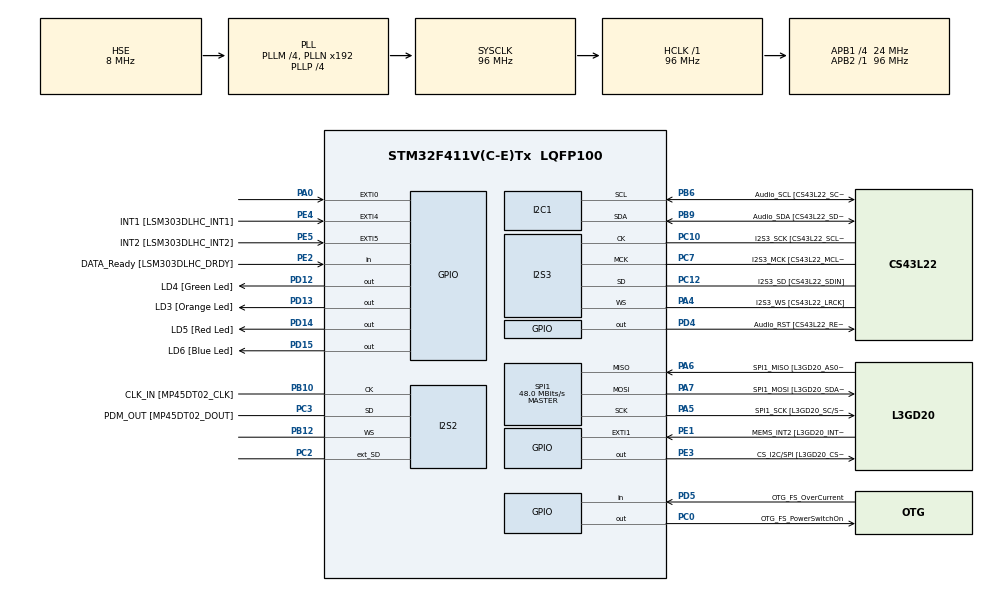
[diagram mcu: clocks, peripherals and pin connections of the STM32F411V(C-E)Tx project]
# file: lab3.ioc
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FREERTOS.BinarySemaphores01=CriticalResourceSemaphore,Dynamic,NULL
FREERTOS.Tasks01=GreenTask,0,128,StartGreenTask,Default,NULL,Dynamic,NULL,NULL;RedTask,0,128,StartRedTask,Default,NULL,Dynamic,NULL,NULL;OrangeTask,1,128,StartOrangeTask,Default,NULL,Dynamic,NULL,NULL
I2S2.AudioFreq=I2S_AUDIOFREQ_96K
I2S2.ErrorAudioFreq=0.15 %
I2S2.FullDuplexMode=I2S_FULLDUPLEXMODE_ENABLE
I2S2.Instance=SPI$Index
I2S2.RealAudioFreq=96.153 KHz
I2S2.VirtualMode=I2S_MODE_MASTER
I2S3.AudioFreq=I2S_AUDIOFREQ_96K
I2S3.ErrorAudioFreq=-6.99 %
I2S3.FullDuplexMode=I2S_FULLDUPLEXMODE_DISABLE
I2S3.Instance=SPI$Index
I2S3.RealAudioFreq=89.285 KHz
I2S3.VirtualMode=I2S_MODE_MASTER
Mcu.Family=STM32F4
Mcu.Name=STM32F411V(C-E)Tx
Mcu.Package=LQFP100
NVIC.PriorityGroup=NVIC_PRIORITYGROUP_4
NVIC.TIM1_UP_TIM10_IRQn=true\:0\:0\:false\:false\:true\:false\:false\:true
NVIC.TimeBase=TIM1_UP_TIM10_IRQn
NVIC.TimeBaseIP=TIM1
PA0-WKUP.GPIO_ModeDefaultEXTI=GPIO_MODE_EVT_RISING
PA0-WKUP.Signal=GPXTI0
PA10.GPIO_Label=OTG_FS_ID
PA10.Signal=USB_OTG_FS_ID
PA11.GPIO_Label=OTG_FS_DM
PA11.Signal=USB_OTG_FS_DM
PA12.GPIO_Label=OTG_FS_DP
PA12.Signal=USB_OTG_FS_DP
PA13.GPIO_Label=SWDIO
PA13.Mode=Serial_Wire
PA13.Signal=SYS_JTMS-SWDIO
PA14.GPIO_Label=SWCLK
PA14.Mode=Serial_Wire
PA14.Signal=SYS_JTCK-SWCLK
PA4.GPIO_Label=I2S3_WS [CS43L22_LRCK]
PA4.GPIO_Mode=GPIO_MODE_AF_PP
PA4.GPIO_PuPd=GPIO_NOPULL
PA4.GPIO_Speed=GPIO_SPEED_FREQ_LOW
PA4.Mode=Half_Duplex_Master
PA4.Signal=I2S3_WS
PA5.GPIO_Label=SPI1_SCK [L3GD20_SC/SPC]
PA5.Mode=Full_Duplex_Master
PA5.Signal=SPI1_SCK
PA6.GPIO_Label=SPI1_MISO [L3GD20_AS0/SDO]
PA6.Mode=Full_Duplex_Master
PA6.Signal=SPI1_MISO
PA7.GPIO_Label=SPI1_MOSI [L3GD20_SDA/SDI/SDO]
PA7.Mode=Full_Duplex_Master
PA7.Signal=SPI1_MOSI
PA9.GPIO_Label=VBUS_FS
PA9.Signal=USB_OTG_FS_VBUS
PB10.GPIO_Label=CLK_IN [MP45DT02_CLK]
PB10.Mode=Full_Duplex_Master
PB10.Signal=I2S2_CK
PB12.Mode=Full_Duplex_Master
PB12.Signal=I2S2_WS
PB3.GPIO_Label=SWO
PB3.Signal=SYS_JTDO-SWO
PB6.GPIO_Label=Audio_SCL [CS43L22_SCL]
PB6.GPIO_Mode=GPIO_MODE_AF_OD
PB6.GPIO_PuPd=GPIO_NOPULL
PB6.GPIO_Speed=GPIO_SPEED_FREQ_LOW
PB6.Mode=I2C
PB6.Signal=I2C1_SCL
PB9.GPIO_Label=Audio_SDA [CS43L22_SDA]
PB9.GPIO_Mode=GPIO_MODE_AF_OD
PB9.GPIO_PuPd=GPIO_NOPULL
PB9.GPIO_Speed=GPIO_SPEED_FREQ_LOW
PB9.Mode=I2C
PB9.Signal=I2C1_SDA
PC0.GPIO_Label=OTG_FS_PowerSwitchOn
PC0.PinState=GPIO_PIN_SET
PC0.Signal=GPIO_Output
PC10.GPIO_Label=I2S3_SCK [CS43L22_SCLK]
PC10.GPIO_Mode=GPIO_MODE_AF_PP
PC10.GPIO_PuPd=GPIO_NOPULL
PC10.GPIO_Speed=GPIO_SPEED_FREQ_LOW
PC10.Mode=Half_Duplex_Master
PC10.Signal=I2S3_CK
PC12.GPIO_Label=I2S3_SD [CS43L22_SDIN]
PC12.GPIO_Mode=GPIO_MODE_AF_PP
PC12.GPIO_PuPd=GPIO_NOPULL
PC12.GPIO_Speed=GPIO_SPEED_FREQ_LOW
PC12.Mode=Half_Duplex_Master
PC12.Signal=I2S3_SD
PC14-OSC32_IN.GPIO_Label=PC14-OSC32_IN
PC14-OSC32_IN.Mode=LSE-External-Oscillator
PC14-OSC32_IN.Signal=RCC_OSC32_IN
PC15-OSC32_OUT.GPIO_Label=PC15-OSC32_OUT
PC15-OSC32_OUT.Mode=LSE-External-Oscillator
PC15-OSC32_OUT.Signal=RCC_OSC32_OUT
PC2.Mode=Full_Duplex_Master
PC2.Signal=I2S2_ext_SD
PC3.GPIO_Label=PDM_OUT [MP45DT02_DOUT]
PC3.Mode=Full_Duplex_Master
PC3.Signal=I2S2_SD
PC7.GPIO_Label=I2S3_MCK [CS43L22_MCLK]
PC7.GPIO_Mode=GPIO_MODE_AF_PP
PC7.GPIO_PuPd=GPIO_NOPULL
PC7.GPIO_Speed=GPIO_SPEED_FREQ_LOW
PC7.Mode=Master_Clock_Activated
PC7.Signal=I2S3_MCK
PD12.GPIO_Label=LD4 [Green Led]
PD12.GPIO_PuPd=GPIO_NOPULL
PD12.GPIO_Speed=GPIO_SPEED_FREQ_LOW
PD12.Signal=GPIO_Output
PD13.GPIO_Label=LD3 [Orange Led]
PD13.GPIO_PuPd=GPIO_NOPULL
PD13.GPIO_Speed=GPIO_SPEED_FREQ_LOW
PD13.Signal=GPIO_Output
PD14.GPIO_Label=LD5 [Red Led]
PD14.GPIO_PuPd=GPIO_NOPULL
PD14.GPIO_Speed=GPIO_SPEED_FREQ_LOW
PD14.Signal=GPIO_Output
PD15.GPIO_Label=LD6 [Blue Led]
PD15.GPIO_PuPd=GPIO_NOPULL
PD15.GPIO_Speed=GPIO_SPEED_FREQ_LOW
PD15.Signal=GPIO_Output
PD4.GPIO_Label=Audio_RST [CS43L22_RESET]
PD4.Signal=GPIO_Output
PD5.GPIO_Label=OTG_FS_OverCurrent
PD5.Signal=GPIO_Input
PE1.GPIO_Label=MEMS_INT2 [L3GD20_INT2]
PE1.GPIO_ModeDefaultEXTI=GPIO_MODE_EVT_RISING
PE1.Signal=GPXTI1
PE2.GPIO_Label=DATA_Ready [LSM303DLHC_DRDY]
PE2.Signal=GPIO_Input
PE3.GPIO_Label=CS_I2C/SPI [L3GD20_CS_I2C/SPI]
PE3.Signal=GPIO_Output
PE4.GPIO_Label=INT1 [LSM303DLHC_INT1]
PE4.GPIO_ModeDefaultEXTI=GPIO_MODE_EVT_RISING
PE4.Signal=GPXTI4
PE5.GPIO_Label=INT2 [LSM303DLHC_INT2]
PE5.GPIO_ModeDefaultEXTI=GPIO_MODE_EVT_RISING
PE5.Signal=GPXTI5
PH0\ -\ OSC_IN.GPIO_Label=PH0-OSC_IN
PH0\ -\ OSC_IN.Mode=HSE-External-Oscillator
PH0\ -\ OSC_IN.Signal=RCC_OSC_IN
PH1\ -\ OSC_OUT.GPIO_Label=PH1-OSC_OUT
PH1\ -\ OSC_OUT.Mode=HSE-External-Oscillator
PH1\ -\ OSC_OUT.Signal=RCC_OSC_OUT
ProjectManager.HeapSize=0x200
ProjectManager.StackSize=0x400
ProjectManager.TargetToolchain=STM32CubeIDE
RCC.48MHZClocksFreq_Value=48000000
RCC.AHBFreq_Value=96000000
RCC.APB1CLKDivider=RCC_HCLK_DIV4
RCC.APB1Freq_Value=24000000
RCC.APB1TimFreq_Value=48000000
RCC.APB2Freq_Value=96000000
RCC.APB2TimFreq_Value=96000000
RCC.CortexFreq_Value=96000000
RCC.HCLKFreq_Value=96000000
RCC.HSE_VALUE=8000000
RCC.HSI_VALUE=16000000
RCC.PLLI2SM=5
RCC.PLLI2SN=200
RCC.PLLM=4
RCC.PLLP=RCC_PLLP_DIV4
RCC.PLLQ=8
RCC.PLLSourceVirtual=RCC_PLLSOURCE_HSE
RCC.SYSCLKFreq_VALUE=96000000
RCC.SYSCLKSource=RCC_SYSCLKSOURCE_PLLCLK
RCC.VCOOutputFreq_Value=384000000
SPI1.BaudRatePrescaler=SPI_BAUDRATEPRESCALER_2
SPI1.CalculateBaudRate=48.0 MBits/s
SPI1.Direction=SPI_DIRECTION_2LINES
SPI1.Mode=SPI_MODE_MASTER
SPI1.VirtualType=VM_MASTER
VP_FREERTOS_VS_CMSIS_V1.Mode=CMSIS_V1
VP_SYS_VS_tim1.Mode=TIM1
board=STM32F411E-DISCO

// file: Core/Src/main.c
/* USER CODE BEGIN Header */
/**
  ******************************************************************************
  * @file           : main.c
  * @brief          : Main program body
  ******************************************************************************
  * @attention
  *
  * <h2><center>&copy; Copyright (c) 2024 STMicroelectronics.
  * All rights reserved.</center></h2>
  *
  * This software component is licensed by ST under Ultimate Liberty license
  * SLA0044, the "License"; You may not use this file except in compliance with
  * the License. You may obtain a copy of the License at:
  *                             www.st.com/SLA0044
  *
  ******************************************************************************
  */
/* USER CODE END Header */

#include "main.h"
#include "cmsis_os.h"

I2C_HandleTypeDef hi2c1;

I2S_HandleTypeDef hi2s2;
I2S_HandleTypeDef hi2s3;

SPI_HandleTypeDef hspi1;

osThreadId GreenTaskHandle;
osThreadId RedTaskHandle;
osThreadId OrangeTaskHandle;
osSemaphoreId CriticalResourceSemaphoreHandle;

void SystemClock_Config(void);
static void MX_GPIO_Init(void);
static void MX_I2C1_Init(void);
static void MX_I2S2_Init(void);
static void MX_I2S3_Init(void);
static void MX_SPI1_Init(void);
void StartGreenTask(void const * argument);
void StartRedTask(void const * argument);
void StartOrangeTask(void const * argument);

int main(void)
{

  /* MCU Configuration--------------------------------------------------------*/

  /* Reset of all peripherals, Initializes the Flash interface and the Systick. */
  HAL_Init();

  /* Configure the system clock */
  SystemClock_Config();

  /* Initialize all configured peripherals */
  MX_GPIO_Init();
  MX_I2C1_Init();
  MX_I2S2_Init();
  MX_I2S3_Init();
  MX_SPI1_Init();

  /* Create the semaphores(s) */
  /* definition and creation of CriticalResourceSemaphore */
  osSemaphoreDef(CriticalResourceSemaphore);
  CriticalResourceSemaphoreHandle = osSemaphoreCreate(osSemaphore(CriticalResourceSemaphore), 1);

  /* Create the thread(s) */
  /* definition and creation of GreenTask */
  osThreadDef(GreenTask, StartGreenTask, osPriorityNormal, 0, 128);
  GreenTaskHandle = osThreadCreate(osThread(GreenTask), NULL);

  /* definition and creation of RedTask */
  osThreadDef(RedTask, StartRedTask, osPriorityNormal, 0, 128);
  RedTaskHandle = osThreadCreate(osThread(RedTask), NULL);

  /* definition and creation of OrangeTask */
  osThreadDef(OrangeTask, StartOrangeTask, osPriorityAboveNormal, 0, 128);
  OrangeTaskHandle = osThreadCreate(osThread(OrangeTask), NULL);

  /* Start scheduler */
  osKernelStart();

  /* We should never get here as control is now taken by the scheduler */

  /* Infinite loop */
  while (1)
  {

  }
}

void SystemClock_Config(void)
{
  RCC_OscInitTypeDef RCC_OscInitStruct = {0};
  RCC_ClkInitTypeDef RCC_ClkInitStruct = {0};
  RCC_PeriphCLKInitTypeDef PeriphClkInitStruct = {0};

  /** Configure the main internal regulator output voltage
  */
  __HAL_RCC_PWR_CLK_ENABLE();
  __HAL_PWR_VOLTAGESCALING_CONFIG(PWR_REGULATOR_VOLTAGE_SCALE1);
  /** Initializes the CPU, AHB and APB busses clocks
  */
  RCC_OscInitStruct.OscillatorType = RCC_OSCILLATORTYPE_HSE;
  RCC_OscInitStruct.HSEState = RCC_HSE_ON;
  RCC_OscInitStruct.PLL.PLLState = RCC_PLL_ON;
  RCC_OscInitStruct.PLL.PLLSource = RCC_PLLSOURCE_HSE;
  RCC_OscInitStruct.PLL.PLLM = 4;
  RCC_OscInitStruct.PLL.PLLN = 192;
  RCC_OscInitStruct.PLL.PLLP = RCC_PLLP_DIV4;
  RCC_OscInitStruct.PLL.PLLQ = 8;
  if (HAL_RCC_OscConfig(&RCC_OscInitStruct) != HAL_OK)
  {
    Error_Handler();
  }
  /** Initializes the CPU, AHB and APB busses clocks
  */
  RCC_ClkInitStruct.ClockType = RCC_CLOCKTYPE_HCLK|RCC_CLOCKTYPE_SYSCLK
                              |RCC_CLOCKTYPE_PCLK1|RCC_CLOCKTYPE_PCLK2;
  RCC_ClkInitStruct.SYSCLKSource = RCC_SYSCLKSOURCE_PLLCLK;
  RCC_ClkInitStruct.AHBCLKDivider = RCC_SYSCLK_DIV1;
  RCC_ClkInitStruct.APB1CLKDivider = RCC_HCLK_DIV4;
  RCC_ClkInitStruct.APB2CLKDivider = RCC_HCLK_DIV1;

  if (HAL_RCC_ClockConfig(&RCC_ClkInitStruct, FLASH_LATENCY_3) != HAL_OK)
  {
    Error_Handler();
  }
  PeriphClkInitStruct.PeriphClockSelection = RCC_PERIPHCLK_I2S;
  PeriphClkInitStruct.PLLI2S.PLLI2SN = 200;
  PeriphClkInitStruct.PLLI2S.PLLI2SM = 5;
  PeriphClkInitStruct.PLLI2S.PLLI2SR = 2;
  if (HAL_RCCEx_PeriphCLKConfig(&PeriphClkInitStruct) != HAL_OK)
  {
    Error_Handler();
  }
}

static void MX_I2C1_Init(void)
{

  hi2c1.Instance = I2C1;
  hi2c1.Init.ClockSpeed = 100000;
  hi2c1.Init.DutyCycle = I2C_DUTYCYCLE_2;
  hi2c1.Init.OwnAddress1 = 0;
  hi2c1.Init.AddressingMode = I2C_ADDRESSINGMODE_7BIT;
  hi2c1.Init.DualAddressMode = I2C_DUALADDRESS_DISABLE;
  hi2c1.Init.OwnAddress2 = 0;
  hi2c1.Init.GeneralCallMode = I2C_GENERALCALL_DISABLE;
  hi2c1.Init.NoStretchMode = I2C_NOSTRETCH_DISABLE;
  if (HAL_I2C_Init(&hi2c1) != HAL_OK)
  {
    Error_Handler();
  }

}

static void MX_I2S2_Init(void)
{

  hi2s2.Instance = SPI2;
  hi2s2.Init.Mode = I2S_MODE_MASTER_TX;
  hi2s2.Init.Standard = I2S_STANDARD_PHILIPS;
  hi2s2.Init.DataFormat = I2S_DATAFORMAT_16B;
  hi2s2.Init.MCLKOutput = I2S_MCLKOUTPUT_DISABLE;
  hi2s2.Init.AudioFreq = I2S_AUDIOFREQ_96K;
  hi2s2.Init.CPOL = I2S_CPOL_LOW;
  hi2s2.Init.ClockSource = I2S_CLOCK_PLL;
  hi2s2.Init.FullDuplexMode = I2S_FULLDUPLEXMODE_ENABLE;
  if (HAL_I2S_Init(&hi2s2) != HAL_OK)
  {
    Error_Handler();
  }

}

static void MX_I2S3_Init(void)
{

  hi2s3.Instance = SPI3;
  hi2s3.Init.Mode = I2S_MODE_MASTER_TX;
  hi2s3.Init.Standard = I2S_STANDARD_PHILIPS;
  hi2s3.Init.DataFormat = I2S_DATAFORMAT_16B;
  hi2s3.Init.MCLKOutput = I2S_MCLKOUTPUT_ENABLE;
  hi2s3.Init.AudioFreq = I2S_AUDIOFREQ_96K;
  hi2s3.Init.CPOL = I2S_CPOL_LOW;
  hi2s3.Init.ClockSource = I2S_CLOCK_PLL;
  hi2s3.Init.FullDuplexMode = I2S_FULLDUPLEXMODE_DISABLE;
  if (HAL_I2S_Init(&hi2s3) != HAL_OK)
  {
    Error_Handler();
  }

}

static void MX_SPI1_Init(void)
{

  /* SPI1 parameter configuration*/
  hspi1.Instance = SPI1;
  hspi1.Init.Mode = SPI_MODE_MASTER;
  hspi1.Init.Direction = SPI_DIRECTION_2LINES;
  hspi1.Init.DataSize = SPI_DATASIZE_8BIT;
  hspi1.Init.CLKPolarity = SPI_POLARITY_LOW;
  hspi1.Init.CLKPhase = SPI_PHASE_1EDGE;
  hspi1.Init.NSS = SPI_NSS_SOFT;
  hspi1.Init.BaudRatePrescaler = SPI_BAUDRATEPRESCALER_2;
  hspi1.Init.FirstBit = SPI_FIRSTBIT_MSB;
  hspi1.Init.TIMode = SPI_TIMODE_DISABLE;
  hspi1.Init.CRCCalculation = SPI_CRCCALCULATION_DISABLE;
  hspi1.Init.CRCPolynomial = 10;
  if (HAL_SPI_Init(&hspi1) != HAL_OK)
  {
    Error_Handler();
  }

}

static void MX_GPIO_Init(void)
{
  GPIO_InitTypeDef GPIO_InitStruct = {0};

  /* GPIO Ports Clock Enable */
  __HAL_RCC_GPIOE_CLK_ENABLE();
  __HAL_RCC_GPIOC_CLK_ENABLE();
  __HAL_RCC_GPIOH_CLK_ENABLE();
  __HAL_RCC_GPIOA_CLK_ENABLE();
  __HAL_RCC_GPIOB_CLK_ENABLE();
  __HAL_RCC_GPIOD_CLK_ENABLE();

  /*Configure GPIO pin Output Level */
  HAL_GPIO_WritePin(CS_I2C_SPI_GPIO_Port, CS_I2C_SPI_Pin, GPIO_PIN_RESET);

  /*Configure GPIO pin Output Level */
  HAL_GPIO_WritePin(OTG_FS_PowerSwitchOn_GPIO_Port, OTG_FS_PowerSwitchOn_Pin, GPIO_PIN_SET);

  /*Configure GPIO pin Output Level */
  HAL_GPIO_WritePin(GPIOD, LD4_Pin|LD3_Pin|LD5_Pin|LD6_Pin
                          |Audio_RST_Pin, GPIO_PIN_RESET);

  /*Configure GPIO pin : DATA_Ready_Pin */
  GPIO_InitStruct.Pin = DATA_Ready_Pin;
  GPIO_InitStruct.Mode = GPIO_MODE_INPUT;
  GPIO_InitStruct.Pull = GPIO_NOPULL;
  HAL_GPIO_Init(DATA_Ready_GPIO_Port, &GPIO_InitStruct);

  /*Configure GPIO pin : CS_I2C_SPI_Pin */
  GPIO_InitStruct.Pin = CS_I2C_SPI_Pin;
  GPIO_InitStruct.Mode = GPIO_MODE_OUTPUT_PP;
  GPIO_InitStruct.Pull = GPIO_NOPULL;
  GPIO_InitStruct.Speed = GPIO_SPEED_FREQ_LOW;
  HAL_GPIO_Init(CS_I2C_SPI_GPIO_Port, &GPIO_InitStruct);

  /*Configure GPIO pins : INT1_Pin INT2_Pin MEMS_INT2_Pin */
  GPIO_InitStruct.Pin = INT1_Pin|INT2_Pin|MEMS_INT2_Pin;
  GPIO_InitStruct.Mode = GPIO_MODE_EVT_RISING;
  GPIO_InitStruct.Pull = GPIO_NOPULL;
  HAL_GPIO_Init(GPIOE, &GPIO_InitStruct);

  /*Configure GPIO pin : OTG_FS_PowerSwitchOn_Pin */
  GPIO_InitStruct.Pin = OTG_FS_PowerSwitchOn_Pin;
  GPIO_InitStruct.Mode = GPIO_MODE_OUTPUT_PP;
  GPIO_InitStruct.Pull = GPIO_NOPULL;
  GPIO_InitStruct.Speed = GPIO_SPEED_FREQ_LOW;
  HAL_GPIO_Init(OTG_FS_PowerSwitchOn_GPIO_Port, &GPIO_InitStruct);

  /*Configure GPIO pin : PA0 */
  GPIO_InitStruct.Pin = GPIO_PIN_0;
  GPIO_InitStruct.Mode = GPIO_MODE_EVT_RISING;
  GPIO_InitStruct.Pull = GPIO_NOPULL;
  HAL_GPIO_Init(GPIOA, &GPIO_InitStruct);

  /*Configure GPIO pins : LD4_Pin LD3_Pin LD5_Pin LD6_Pin
                           Audio_RST_Pin */
  GPIO_InitStruct.Pin = LD4_Pin|LD3_Pin|LD5_Pin|LD6_Pin
                          |Audio_RST_Pin;
  GPIO_InitStruct.Mode = GPIO_MODE_OUTPUT_PP;
  GPIO_InitStruct.Pull = GPIO_NOPULL;
  GPIO_InitStruct.Speed = GPIO_SPEED_FREQ_LOW;
  HAL_GPIO_Init(GPIOD, &GPIO_InitStruct);

  /*Configure GPIO pin : VBUS_FS_Pin */
  GPIO_InitStruct.Pin = VBUS_FS_Pin;
  GPIO_InitStruct.Mode = GPIO_MODE_INPUT;
  GPIO_InitStruct.Pull = GPIO_NOPULL;
  HAL_GPIO_Init(VBUS_FS_GPIO_Port, &GPIO_InitStruct);

  /*Configure GPIO pins : OTG_FS_ID_Pin OTG_FS_DM_Pin OTG_FS_DP_Pin */
  GPIO_InitStruct.Pin = OTG_FS_ID_Pin|OTG_FS_DM_Pin|OTG_FS_DP_Pin;
  GPIO_InitStruct.Mode = GPIO_MODE_AF_PP;
  GPIO_InitStruct.Pull = GPIO_NOPULL;
  GPIO_InitStruct.Speed = GPIO_SPEED_FREQ_VERY_HIGH;
  GPIO_InitStruct.Alternate = GPIO_AF10_OTG_FS;
  HAL_GPIO_Init(GPIOA, &GPIO_InitStruct);

  /*Configure GPIO pin : OTG_FS_OverCurrent_Pin */
  GPIO_InitStruct.Pin = OTG_FS_OverCurrent_Pin;
  GPIO_InitStruct.Mode = GPIO_MODE_INPUT;
  GPIO_InitStruct.Pull = GPIO_NOPULL;
  HAL_GPIO_Init(OTG_FS_OverCurrent_GPIO_Port, &GPIO_InitStruct);

}

/* USER CODE BEGIN 4 */
int startFlag = 1;
void StartAccessSoftware()
{
  /* USER CODE BEGIN 5 */
  /* Infinite loop */
  for(;;)
  {
	  if(startFlag == 1)
	  {
		  startFlag = 0;
	  }
	  else
	  {
		  HAL_GPIO_TogglePin(GPIOD, LD6_Pin);//Toggel Blue LED
	  }
    for(int i = 0; i < 2000000; i++);//Delay ~0.5 sec
    startFlag = 1;
    return;
  }
  /* USER CODE END 5 */
}
/* USER CODE END 4 */

void StartGreenTask(void const * argument)
{
  /* USER CODE BEGIN 5 */
  /* Infinite loop */
  for(;;)
  {
	  HAL_GPIO_WritePin(GPIOD, LD4_Pin, GPIO_PIN_SET);//Green LED ON
	  osSemaphoreWait(CriticalResourceSemaphoreHandle, osWaitForever);
	  //taskENTER_CRITICAL();//Disable Interrupts
	  StartAccessSoftware();//Enter simulation of R/W

	  osSemaphoreRelease(CriticalResourceSemaphoreHandle);
	  //taskEXIT_CRITICAL();//Enable Interrupts
	  osDelay(200);//delay 0.2 sec
	  HAL_GPIO_WritePin(GPIOD, LD4_Pin, GPIO_PIN_RESET);//Green LED OFF

	  osDelay(200);//delay 0.2 sec
  }
  /* USER CODE END 5 */
}

void StartRedTask(void const * argument)
{
  /* USER CODE BEGIN StartRedTask */
  /* Infinite loop */
  for(;;)
  {
	  HAL_GPIO_WritePin(GPIOD, LD5_Pin, GPIO_PIN_SET);//RED LED ON

	  osSemaphoreWait(CriticalResourceSemaphoreHandle, osWaitForever);
	  //taskENTER_CRITICAL();//Disable Interrupts
	  StartAccessSoftware();//Enter simulation of R/W
	  //taskEXIT_CRITICAL();//Enable Interrupts
	  osSemaphoreRelease(CriticalResourceSemaphoreHandle);
	  osDelay(550);
	  HAL_GPIO_WritePin(GPIOD, LD5_Pin, GPIO_PIN_RESET);//RED LED OFF

	  osDelay(550);//delay 0.55 sec
  }
  /* USER CODE END StartRedTask */
}

void StartOrangeTask(void const * argument)
{
  /* USER CODE BEGIN StartOrangeTask */
  /* Infinite loop */
  for(;;)
  {
	  HAL_GPIO_TogglePin(GPIOD, LD3_Pin);//Orange LED ON
	  osDelay(50);//delay 0.5 sec
  }
  /* USER CODE END StartOrangeTask */
}

void HAL_TIM_PeriodElapsedCallback(TIM_HandleTypeDef *htim)
{
  if (htim->Instance == TIM1) {
    HAL_IncTick();
  }
}

void Error_Handler(void)
{
}

/************************ (C) COPYRIGHT STMicroelectronics *****END OF FILE****/
